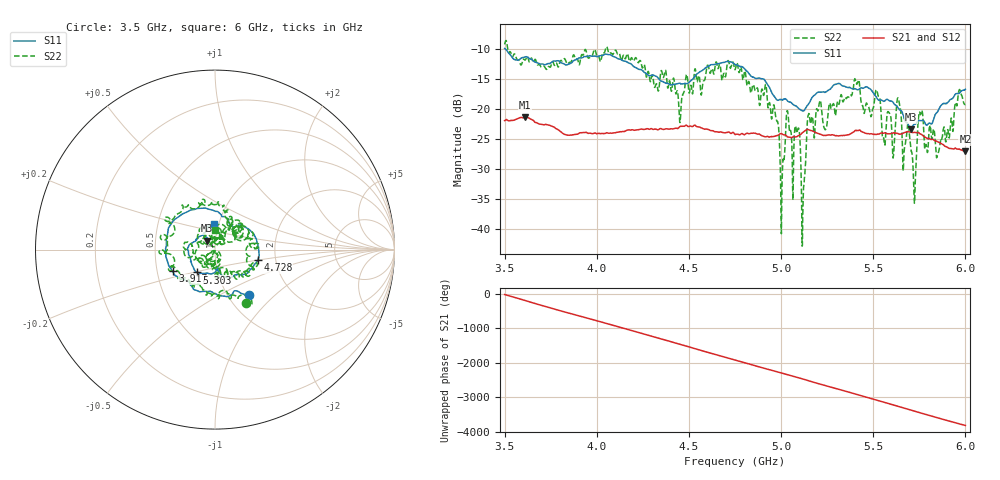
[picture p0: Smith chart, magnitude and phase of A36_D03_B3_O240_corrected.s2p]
! Created with skrf 1.9.0 (http://scikit-rf.org).
# Hz S RI R 50.0
!freq ReS11 ImS11 ReS21 ImS21 ReS12 ImS12 ReS22 ImS22
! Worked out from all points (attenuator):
!   1601 points, 3.5 GHz to 6 GHz, reference 50 ohm
!   highest |S21| = -21.40 dB at 3.611 GHz (marker M1); lowest = -27.1 dB at 6 GHz (marker M2)
!   lowest |S11| = -23.4 dB at 5.703 GHz (marker M3), VSWR 1.15, Z = 45.4 + j4.61 ohm
!   |S11| at or under -10 dB: 3.502 GHz to end of sweep
!   |S22| runs from -42.8 to -8.6 dB; largest |S21 - S12| = 0.001
!   S11 on the Smith chart (normalised r, x): 3.5 GHz: 1.25, -0.71; 3.917 GHz: 0.60, -0.16; 4.728 GHz: 1.61, -0.20; 5.303 GHz: 0.79, -0.21; 6 GHz: 0.95, +0.28
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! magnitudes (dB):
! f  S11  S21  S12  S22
! 3.5 GHz  -10.0  -21.9  -21.9  -9.3
! 3.611 GHz  -11.3  -21.4  -21.4  -11.9
! 3.917 GHz  -11.5  -24.0  -24.0  -11.0
! 4.334 GHz  -14.9  -23.5  -23.4  -17.0
! 4.455 GHz  -15.8  -22.9  -22.9  -21.3
! 4.728 GHz  -12.2  -24.1  -24.0  -13.0
! 4.75 GHz  -12.6  -24.3  -24.2  -13.5
! 4.969 GHz  -18.2  -24.5  -24.5  -21.0
! 5.006 GHz  -18.5  -24.2  -24.2  -31.1
! 5.034 GHz  -18.7  -24.7  -24.6  -20.3
! 5.088 GHz  -19.7  -24.6  -24.6  -23.9
! 5.12 GHz  -20.3  -23.9  -23.8  -34.6
! 5.145 GHz  -19.3  -23.4  -23.4  -21.3
! 5.167 GHz  -18.1  -23.6  -23.6  -21.3
! 5.303 GHz  -15.8  -24.5  -24.4  -19.2
! 5.409 GHz  -16.7  -23.6  -23.5  -15.9
! 5.584 GHz  -18.6  -24.1  -24.1  -20.5
! 5.703 GHz  -23.4  -23.9  -23.9  -26.5
! 5.723 GHz  -22.6  -23.9  -23.9  -35.7
! 5.756 GHz  -22.0  -24.2  -24.1  -21.0
! 5.85 GHz  -20.4  -25.5  -25.4  -27.5
! 6 GHz  -16.7  -27.1  -27.0  -19.3
